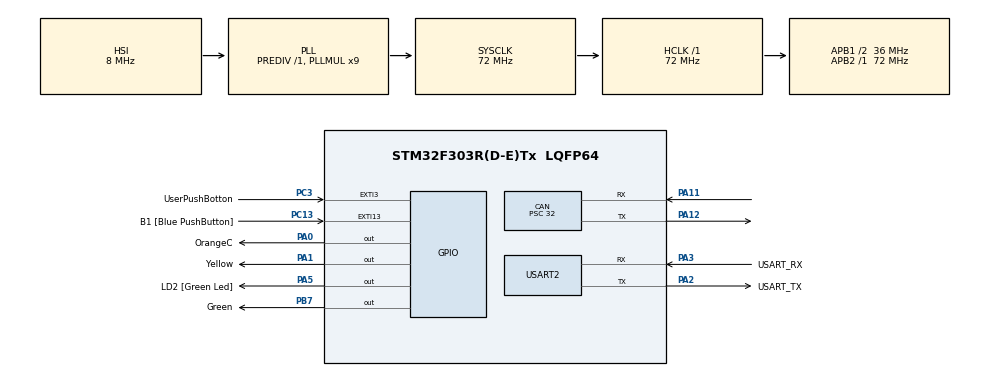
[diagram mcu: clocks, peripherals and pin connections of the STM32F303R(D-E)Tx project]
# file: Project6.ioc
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CAN.BS1=CAN_BS1_4TQ
CAN.BS2=CAN_BS2_4TQ
CAN.CalculateBaudRate=125000
CAN.CalculateTimeBit=8000
CAN.CalculateTimeQuantum=888.8888888888889
CAN.Prescaler=32
Mcu.Family=STM32F3
Mcu.Name=STM32F303R(D-E)Tx
Mcu.Package=LQFP64
NVIC.EXTI15_10_IRQn=true\:0\:0\:false\:false\:true\:true\:true\:true
NVIC.EXTI3_IRQn=true\:0\:0\:false\:false\:true\:true\:true\:true
NVIC.PriorityGroup=NVIC_PRIORITYGROUP_0
NVIC.USB_LP_CAN_RX0_IRQn=true\:0\:0\:false\:false\:true\:true\:true\:true
PA0.GPIO_Label=OrangeC
PA0.Signal=GPIO_Output
PA1.GPIO_Label=Yellow
PA1.Signal=GPIO_Output
PA11.Mode=CAN_Activate
PA11.Signal=CAN_RX
PA12.Mode=CAN_Activate
PA12.Signal=CAN_TX
PA13.GPIO_Label=TMS
PA13.Mode=Serial_Wire
PA13.Signal=SYS_JTMS-SWDIO
PA14.GPIO_Label=TCK
PA14.Mode=Serial_Wire
PA14.Signal=SYS_JTCK-SWCLK
PA2.GPIO_Label=USART_TX
PA2.GPIO_Mode=GPIO_MODE_AF_PP
PA2.GPIO_PuPd=GPIO_NOPULL
PA2.GPIO_Speed=GPIO_SPEED_FREQ_LOW
PA2.Mode=Asynchronous
PA2.Signal=USART2_TX
PA3.GPIO_Label=USART_RX
PA3.GPIO_Mode=GPIO_MODE_AF_PP
PA3.GPIO_PuPd=GPIO_NOPULL
PA3.GPIO_Speed=GPIO_SPEED_FREQ_LOW
PA3.Mode=Asynchronous
PA3.Signal=USART2_RX
PA5.GPIO_Label=LD2 [Green Led]
PA5.GPIO_Mode=GPIO_MODE_OUTPUT_PP
PA5.GPIO_PuPd=GPIO_NOPULL
PA5.GPIO_Speed=GPIO_SPEED_FREQ_LOW
PA5.Signal=GPIO_Output
PB3.GPIO_Label=SWO
PB3.Signal=SYS_JTDO-TRACESWO
PB7.GPIO_Label=Green
PB7.Signal=GPIO_Output
PC13.GPIO_Label=B1 [Blue PushButton]
PC13.GPIO_ModeDefaultEXTI=GPIO_MODE_IT_FALLING
PC13.Signal=GPXTI13
PC14-OSC32_IN.Mode=LSE-External-Oscillator
PC14-OSC32_IN.Signal=RCC_OSC32_IN
PC15-OSC32_OUT.Mode=LSE-External-Oscillator
PC15-OSC32_OUT.Signal=RCC_OSC32_OUT
PC3.GPIO_Label=UserPushBotton
PC3.Signal=GPXTI3
PF0-OSC_IN.Mode=HSE-External-Clock-Source
PF0-OSC_IN.Signal=RCC_OSC_IN
PF1-OSC_OUT.Signal=RCC_OSC_OUT
ProjectManager.HeapSize=0x200
ProjectManager.StackSize=0x400
ProjectManager.TargetToolchain=STM32CubeIDE
RCC.AHBFreq_Value=72000000
RCC.APB1CLKDivider=RCC_HCLK_DIV2
RCC.APB1Freq_Value=36000000
RCC.APB1TimFreq_Value=72000000
RCC.APB2Freq_Value=72000000
RCC.APB2TimFreq_Value=72000000
RCC.CortexFreq_Value=72000000
RCC.HCLKFreq_Value=72000000
RCC.HSE_VALUE=8000000
RCC.HSI_VALUE=8000000
RCC.PLLM=8
RCC.PLLMUL=RCC_PLL_MUL9
RCC.PLLN=336
RCC.PLLP=RCC_PLLP_DIV4
RCC.PLLQ=7
RCC.RCC_PLLsource_Clock_Source_FROM_HSE=RCC_HSE_PREDIV_DIV2
RCC.SYSCLKFreq_VALUE=72000000
RCC.SYSCLKSourceVirtual=RCC_SYSCLKSOURCE_PLLCLK
RCC.USBFreq_Value=72000000
USART2.VirtualMode-Asynchronous=VM_ASYNC
board=NUCLEO-F303RE

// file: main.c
/* USER CODE BEGIN Header */
/**
  ******************************************************************************
  * @file           : main.c
  * @brief          : Main program body
  ******************************************************************************
  * @attention
  *
  * Copyright (c) 2022 STMicroelectronics.
  * All rights reserved.
  *
  * This software is licensed under terms that can be found in the LICENSE file
  * in the root directory of this software component.
  * If no LICENSE file comes with this software, it is provided AS-IS.
  *
  ******************************************************************************
  */
/* USER CODE END Header */
#include "main.h"

/* USER CODE BEGIN PD */
#define		ID						0x0100		//ID of supervisory controller - Change this depending on floor
#define		Go_To_Floor_1			0x05		//Floor 1 ID
#define		Go_To_Floor_2			0x06		//Floor 2 ID
#define		Go_To_Floor_3			0x07		//Floor 3 ID
#define		No_Button_Prssed		0			//Default value of the BUTTON flag - no button pressed
#define		Blue_Button_Pressed		1			//Value of the BUTTON when blue button is pressed

/* USER CODE END PD */

 CAN_HandleTypeDef hcan;

UART_HandleTypeDef huart2;

/* USER CODE BEGIN PV */
CAN_TxHeaderTypeDef		TxHeader;
CAN_RxHeaderTypeDef		RxHeader;
uint8_t					TxData[8];
uint8_t					RxData[8];
uint32_t				TxMailbox;

uint8_t					msg = Go_To_Floor_1;		//Message is 'Go to Floor 1'
uint8_t					BUTTON = No_Button_Prssed;	//Button pressed flag(value changed in callback function for interrupt

/* USER CODE END PV */

void SystemClock_Config(void);
static void MX_GPIO_Init(void);
static void MX_USART2_UART_Init(void);
static void MX_CAN_Init(void);

int main(void)
{

  /* MCU Configuration--------------------------------------------------------*/

  /* Reset of all peripherals, Initializes the Flash interface and the Systick. */
  HAL_Init();

  /* Configure the system clock */
  SystemClock_Config();

  /* Initialize all configured peripherals */
  MX_GPIO_Init();
  MX_USART2_UART_Init();
  MX_CAN_Init();

  /* Infinite loop */
  while (1)
  {

    /* USER CODE BEGIN 3 */
	uint8_t i;
	//Receive
	if(RxData[0] == Go_To_Floor_1){
		HAL_GPIO_TogglePin(GPIOA, GPIO_PIN_5);
		HAL_Delay(2000);
		for(i=0;i<8;i++){
			RxData[i] = 0x00;
		}
		HAL_GPIO_TogglePin(GPIOA,GPIO_PIN_5);
		HAL_Delay(100);
	}

	//Transmit
	if(BUTTON != 0){
		if ( BUTTON == Blue_Button_Pressed){
			HAL_GPIO_TogglePin(GPIOA, GPIO_PIN_5);
			HAL_Delay(2000);
			TxData[0] = msg;
			if (HAL_CAN_AddTxMessage(&hcan, &TxHeader, TxData, &TxMailbox) != HAL_OK){
				Error_Handler();
			}
			HAL_GPIO_TogglePin(GPIOA, GPIO_PIN_5);
			BUTTON = No_Button_Prssed;
		}
	}
  }
  /* USER CODE END 3 */
}

void SystemClock_Config(void)
{
  RCC_OscInitTypeDef RCC_OscInitStruct = {0};
  RCC_ClkInitTypeDef RCC_ClkInitStruct = {0};
  RCC_PeriphCLKInitTypeDef PeriphClkInit = {0};

  /** Initializes the RCC Oscillators according to the specified parameters
  * in the RCC_OscInitTypeDef structure.
  */
  RCC_OscInitStruct.OscillatorType = RCC_OSCILLATORTYPE_HSI;
  RCC_OscInitStruct.HSIState = RCC_HSI_ON;
  RCC_OscInitStruct.HSICalibrationValue = RCC_HSICALIBRATION_DEFAULT;
  RCC_OscInitStruct.PLL.PLLState = RCC_PLL_ON;
  RCC_OscInitStruct.PLL.PLLSource = RCC_PLLSOURCE_HSI;
  RCC_OscInitStruct.PLL.PLLMUL = RCC_PLL_MUL9;
  RCC_OscInitStruct.PLL.PREDIV = RCC_PREDIV_DIV1;
  if (HAL_RCC_OscConfig(&RCC_OscInitStruct) != HAL_OK)
  {
    Error_Handler();
  }

  /** Initializes the CPU, AHB and APB buses clocks
  */
  RCC_ClkInitStruct.ClockType = RCC_CLOCKTYPE_HCLK|RCC_CLOCKTYPE_SYSCLK
                              |RCC_CLOCKTYPE_PCLK1|RCC_CLOCKTYPE_PCLK2;
  RCC_ClkInitStruct.SYSCLKSource = RCC_SYSCLKSOURCE_PLLCLK;
  RCC_ClkInitStruct.AHBCLKDivider = RCC_SYSCLK_DIV1;
  RCC_ClkInitStruct.APB1CLKDivider = RCC_HCLK_DIV2;
  RCC_ClkInitStruct.APB2CLKDivider = RCC_HCLK_DIV1;

  if (HAL_RCC_ClockConfig(&RCC_ClkInitStruct, FLASH_LATENCY_2) != HAL_OK)
  {
    Error_Handler();
  }
  PeriphClkInit.PeriphClockSelection = RCC_PERIPHCLK_USART2;
  PeriphClkInit.Usart2ClockSelection = RCC_USART2CLKSOURCE_PCLK1;
  if (HAL_RCCEx_PeriphCLKConfig(&PeriphClkInit) != HAL_OK)
  {
    Error_Handler();
  }
}

static void MX_CAN_Init(void)
{

  hcan.Instance = CAN;
  hcan.Init.Prescaler = 32;
  hcan.Init.Mode = CAN_MODE_NORMAL;
  hcan.Init.SyncJumpWidth = CAN_SJW_1TQ;
  hcan.Init.TimeSeg1 = CAN_BS1_4TQ;
  hcan.Init.TimeSeg2 = CAN_BS2_4TQ;
  hcan.Init.TimeTriggeredMode = DISABLE;
  hcan.Init.AutoBusOff = DISABLE;
  hcan.Init.AutoWakeUp = DISABLE;
  hcan.Init.AutoRetransmission = DISABLE;
  hcan.Init.ReceiveFifoLocked = DISABLE;
  hcan.Init.TransmitFifoPriority = DISABLE;
  if (HAL_CAN_Init(&hcan) != HAL_OK)
  {
    Error_Handler();
  }
  /* USER CODE BEGIN CAN_Init 2 */

  //Setting up CAN Rx Filters
  CAN_FilterTypeDef filter;					//One of the 13 filters, current id 0

  //Configure filter 0 to direct everything to FIFO 0
  filter.FilterBank = 0;							//This is filter number 0
  filter.FilterIdHigh = 0x0100 <<5;					//Set FilterIdHigh bits by choosing an ID and aligning the bits in the filter register with receive register by shifting <<5
  filter.FilterIdLow = 0x000;						//Not using FilterIdLow bits (set as dont't care)
  filter.FilterMaskIdHigh = 0xFFC <<5;				//Gives a range of ID's that will be accepted of between 0x100 and 0x103, must also align the bits
  filter.FilterMaskIdLow = 0x000;					//Not using FilterMaskLow bits
  filter.FilterFIFOAssignment = CAN_FILTER_FIFO0;
  filter.FilterMode = CAN_FILTERMODE_IDMASK;		//uses mask mode
  filter.FilterScale = CAN_FILTERSCALE_32BIT;		//Use 32 bit filters
  filter.FilterActivation = ENABLE;					//By default the filters are disabled so enable them
  filter.SlaveStartFilterBank = 0;

  if(HAL_CAN_ConfigFilter(&hcan, &filter) != HAL_OK){	//Set the above values for filter 0
	  Error_Handler();
  }

  //Start the CAN prepheral
  if(HAL_CAN_Start(&hcan) != HAL_OK){
	  Error_Handler();
  }

  //Activate CAN Rx notification interrupt
  if(HAL_CAN_ActivateNotification(&hcan, CAN_IT_RX_FIFO0_MSG_PENDING) != HAL_OK ){
	  Error_Handler();
  }

  //Prepare header filds for Standard Mode CAN Transmission
  TxHeader.IDE = CAN_ID_STD;						//Using standard mode CAN_ID_EXT for extended mode
  TxHeader.ExtId = 0x00;							//Extended ID is not used
  TxHeader.RTR = CAN_RTR_DATA;						//Standard mode ID is 0x100
  TxHeader.DLC = 1;									//Send a data from not an RTR
  TxHeader.TransmitGlobalTime = DISABLE;

  /* USER CODE END CAN_Init 2 */

}

static void MX_USART2_UART_Init(void)
{

  huart2.Instance = USART2;
  huart2.Init.BaudRate = 38400;
  huart2.Init.WordLength = UART_WORDLENGTH_8B;
  huart2.Init.StopBits = UART_STOPBITS_1;
  huart2.Init.Parity = UART_PARITY_NONE;
  huart2.Init.Mode = UART_MODE_TX_RX;
  huart2.Init.HwFlowCtl = UART_HWCONTROL_NONE;
  huart2.Init.OverSampling = UART_OVERSAMPLING_16;
  huart2.Init.OneBitSampling = UART_ONE_BIT_SAMPLE_DISABLE;
  huart2.AdvancedInit.AdvFeatureInit = UART_ADVFEATURE_NO_INIT;
  if (HAL_UART_Init(&huart2) != HAL_OK)
  {
    Error_Handler();
  }

}

static void MX_GPIO_Init(void)
{
  GPIO_InitTypeDef GPIO_InitStruct = {0};

  /* GPIO Ports Clock Enable */
  __HAL_RCC_GPIOC_CLK_ENABLE();
  __HAL_RCC_GPIOF_CLK_ENABLE();
  __HAL_RCC_GPIOA_CLK_ENABLE();
  __HAL_RCC_GPIOB_CLK_ENABLE();

  /*Configure GPIO pin Output Level */
  HAL_GPIO_WritePin(LD2_GPIO_Port, LD2_Pin, GPIO_PIN_RESET);

  /*Configure GPIO pin : B1_Pin */
  GPIO_InitStruct.Pin = B1_Pin;
  GPIO_InitStruct.Mode = GPIO_MODE_IT_FALLING;
  GPIO_InitStruct.Pull = GPIO_NOPULL;
  HAL_GPIO_Init(B1_GPIO_Port, &GPIO_InitStruct);

  /*Configure GPIO pin : UserPushBotton_Pin */
  GPIO_InitStruct.Pin = UserPushBotton_Pin;
  GPIO_InitStruct.Mode = GPIO_MODE_IT_RISING;
  GPIO_InitStruct.Pull = GPIO_NOPULL;
  HAL_GPIO_Init(UserPushBotton_GPIO_Port, &GPIO_InitStruct);

  /*Configure GPIO pin : LD2_Pin */
  GPIO_InitStruct.Pin = LD2_Pin;
  GPIO_InitStruct.Mode = GPIO_MODE_OUTPUT_PP;
  GPIO_InitStruct.Pull = GPIO_NOPULL;
  GPIO_InitStruct.Speed = GPIO_SPEED_FREQ_LOW;
  HAL_GPIO_Init(LD2_GPIO_Port, &GPIO_InitStruct);

  /* EXTI interrupt init*/
  HAL_NVIC_SetPriority(EXTI3_IRQn, 0, 0);
  HAL_NVIC_EnableIRQ(EXTI3_IRQn);

  HAL_NVIC_SetPriority(EXTI15_10_IRQn, 0, 0);
  HAL_NVIC_EnableIRQ(EXTI15_10_IRQn);

}

/* USER CODE BEGIN 4 */

// Override the HAL_CAN_RxFifoMsgPendingCallback function
// This is called when the interrupt for FIFO0 is triggered

void HAL_CAN_RxFifoMsgPendingCallback(CAN_HandleTypeDef *hcan){
	//Get RX message and store in RxData[] buffer */
	if ( HAL_CAN_GetRxMessage(hcan, CAN_RX_FIFO0, &RxHeader, RxData) != HAL_OK){
		Error_Handler();
	}
}

// Override the HAL_GPIO Callback
void HAL_GPIO_EXTI_Callback(uint16_t GPIO_Pin){

	//Set the button flag to indicate which button was pressed
	if( GPIO_Pin == GPIO_PIN_15||GPIO_PIN_13){
		BUTTON = Blue_Button_Pressed;
	}
}

/* USER CODE END 4 */

void Error_Handler(void)
{
  __disable_irq();
  while (1)
  {
  }
}
